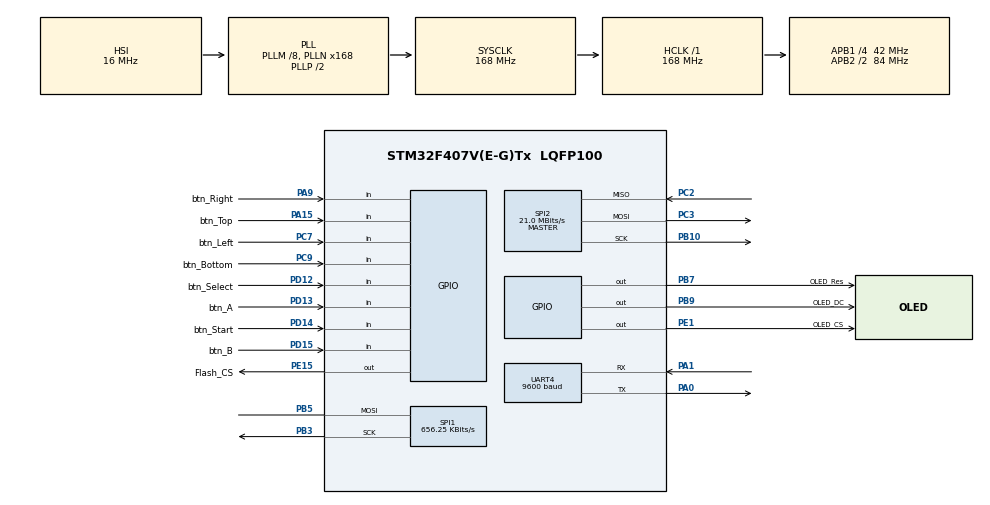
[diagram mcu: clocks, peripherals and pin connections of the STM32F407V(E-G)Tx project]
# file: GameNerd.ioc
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Mcu.Family=STM32F4
Mcu.Name=STM32F407V(E-G)Tx
Mcu.Package=LQFP100
NVIC.PriorityGroup=NVIC_PRIORITYGROUP_4
PA0-WKUP.Mode=Asynchronous
PA0-WKUP.Signal=UART4_TX
PA1.Mode=Asynchronous
PA1.Signal=UART4_RX
PA13.Mode=Serial_Wire
PA13.Signal=SYS_JTMS-SWDIO
PA14.Mode=Serial_Wire
PA14.Signal=SYS_JTCK-SWCLK
PA15.GPIO_Label=btn_Top
PA15.Signal=GPIO_Input
PA9.GPIO_Label=btn_Right
PA9.Signal=GPIO_Input
PB10.Mode=Full_Duplex_Master
PB10.Signal=SPI2_SCK
PB3.Mode=Simplex_Bidirectional_Master
PB3.Signal=SPI1_SCK
PB5.Mode=Simplex_Bidirectional_Master
PB5.Signal=SPI1_MOSI
PB7.GPIO_Label=OLED_Res
PB7.Signal=GPIO_Output
PB9.GPIO_Label=OLED_DC
PB9.Signal=GPIO_Output
PC14-OSC32_IN.Signal=RCC_OSC32_IN
PC15-OSC32_OUT.Signal=RCC_OSC32_OUT
PC2.Mode=Full_Duplex_Master
PC2.Signal=SPI2_MISO
PC3.Mode=Full_Duplex_Master
PC3.Signal=SPI2_MOSI
PC7.GPIO_Label=btn_Left
PC7.Signal=GPIO_Input
PC9.GPIO_Label=btn_Bottom
PC9.Signal=GPIO_Input
PD12.GPIO_Label=btn_Select
PD12.Signal=GPIO_Input
PD13.GPIO_Label=btn_A
PD13.Signal=GPIO_Input
PD14.GPIO_Label=btn_Start
PD14.Signal=GPIO_Input
PD15.GPIO_Label=btn_B
PD15.Signal=GPIO_Input
PE1.GPIO_Label=OLED_CS
PE1.Signal=GPIO_Output
PE15.GPIO_Label=Flash_CS
PE15.Signal=GPIO_Output
PH0-OSC_IN.Signal=RCC_OSC_IN
PH1-OSC_OUT.Signal=RCC_OSC_OUT
ProjectManager.HeapSize=0x200
ProjectManager.StackSize=0x400
ProjectManager.TargetToolchain=STM32CubeIDE
RCC.48MHZClocksFreq_Value=84000000
RCC.AHBFreq_Value=168000000
RCC.APB1CLKDivider=RCC_HCLK_DIV4
RCC.APB1Freq_Value=42000000
RCC.APB1TimFreq_Value=84000000
RCC.APB2CLKDivider=RCC_HCLK_DIV2
RCC.APB2Freq_Value=84000000
RCC.APB2TimFreq_Value=168000000
RCC.CortexFreq_Value=168000000
RCC.HCLKFreq_Value=168000000
RCC.HSE_VALUE=25000000
RCC.HSI_VALUE=16000000
RCC.LSE_VALUE=32768
RCC.PLLM=8
RCC.PLLN=168
RCC.SYSCLKFreq_VALUE=168000000
RCC.SYSCLKSource=RCC_SYSCLKSOURCE_PLLCLK
RCC.VCOOutputFreq_Value=336000000
SPI1.BaudRatePrescaler=SPI_BAUDRATEPRESCALER_128
SPI1.CLKPolarity=SPI_POLARITY_HIGH
SPI1.CalculateBaudRate=656.25 KBits/s
SPI1.Direction=SPI_DIRECTION_1LINE
SPI1.Mode=SPI_MODE_MASTER
SPI1.VirtualType=VM_MASTER
SPI2.CalculateBaudRate=21.0 MBits/s
SPI2.Direction=SPI_DIRECTION_2LINES
SPI2.Mode=SPI_MODE_MASTER
SPI2.VirtualType=VM_MASTER
UART4.BaudRate=9600
UART4.VirtualMode=Asynchronous
board=custom

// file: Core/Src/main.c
/* USER CODE BEGIN Header */
/**
  ******************************************************************************
  * @file           : main.c
  * @brief          : Main program body
  ******************************************************************************
  * @attention
  *
  * Copyright (c) 2022 STMicroelectronics.
  * All rights reserved.
  *
  * This software is licensed under terms that can be found in the LICENSE file
  * in the root directory of this software component.
  * If no LICENSE file comes with this software, it is provided AS-IS.
  *
  ******************************************************************************
  */
/* USER CODE END Header */
#include "main.h"
#include "spi.h"
#include "usart.h"
#include "gpio.h"

/* USER CODE BEGIN Includes */

//include screen lib
#include "stdio.h"
#include "../lib/ssd1306_tests.h"
#include "../lib/music.h"
#include "config.h"
#include "math.h"

//include flash lib
#include "w25qxx.h"

//include game
//#include "../game/realPong/realPong.h"
#include "../inc/Controler.h"

#if (MEMORY_FLASH == 1)

#include "../game/pong/pong.h"

#endif

//include menu interface

//include menu interface

/* USER CODE END Includes */

void SystemClock_Config(void);

/* USER CODE BEGIN 0 */

/*
int8_t buttonStats[] = {0,0,0,0,0,0,0,0};

uint8_t indexFlash[1] = {0};
uint8_t buffer1[20];
uint8_t buffer2[100] = {0};
*/

#if (MEMORY_FLASH == 1)

int8_t buttonStats[] = {0,0,0,0,0,0,0,0};

uint8_t indexFlash[1] = {0};
uint8_t buffer1[SIZE_CODE];

#else

stepMenu step = STEP_INIT;
uint8_t idGame = 0;

//initialise the program :
static Program_t myGame;
static game_fun_t pGame;

#endif

/* USER CODE END 0 */

int main(void)
{

  /* MCU Configuration--------------------------------------------------------*/

  /* Reset of all peripherals, Initializes the Flash interface and the Systick. */
  HAL_Init();

  /* USER CODE BEGIN Init */
  HAL_Delay(1000);

  /* USER CODE END Init */

  /* Configure the system clock */
  SystemClock_Config();

  /* Initialize all configured peripherals */
  MX_GPIO_Init();
  MX_SPI1_Init();
  MX_SPI2_Init();
  MX_UART4_Init();
  /* USER CODE BEGIN 2 */

  W25qxx_Init();

  //Init The screen
  ssd1306_Init();

  /* USER CODE END 2 */

  /* Infinite loop */
  /* USER CODE BEGIN WHILE */
#if (MEMORY_FLASH == 0)

  while (1)
  {
	/* USER CODE END WHILE */
    /* USER CODE BEGIN 3 */
	static uint8_t game_running = 0;
	switch(step){
		case STEP_INIT : {
			step = STEP_MENU;
			break;
		}
		case STEP_MENU : {
			game_running = 0;
			drawMenu(&game_running);
			if (game_running){
				step = STEP_LOAD_GAME;
			}else{
				step = STEP_BACKGROUND;
			}
			break;
		}
		case STEP_LOAD_GAME: {
			loadGame();
			step = STEP_GAME;
			break;
		}
		case STEP_GAME : {
			runGame();
			step = STEP_BACKGROUND;
			break;
		}
		case STEP_BACKGROUND : {
			MUSIC_Process_main();

			if (!game_running){
				step = STEP_MENU;
				//actualiseMenu();
			}else if(getSelectButton()){
				step = STEP_MENU;
				actualiseMenu();
			}else{
				step = STEP_GAME;
			}
			break;
		}
		}

  	}
#else

  	//0x8003ca4
	extern uint8_t _begin_game;
	extern uint8_t _end_game;

	volatile uint8_t *pbegin = &_begin_game;
	volatile uint8_t *pend = &_end_game;

	/*while(1){
	  ssd1306_TestCircle();
	}*/
	//initialise the program :
	static Program_t myGame;
	static game_fun_t pGame;

	//Copy the game into the ram
	//Copy(myGAME.code)
	uint8_t * pG;
	pG = (uint8_t *)pGame;
	uint32_t i = 0;
	while ((pbegin+i) < pend){
	  myGame.code[i] = pbegin[i];
	  i++;
	}

	W25qxx_EraseSector(0);
	int8_t b[1] = {1};
	W25qxx_WriteSector(b, 0, 0, 1);
	char text[20] = MEMORY_NAME;
	W25qxx_WriteSector(text, 0, 1, 20);

	W25qxx_EraseSector(1);
	W25qxx_WriteSector(myGame.code,1, 0, SIZE_CODE);

	W25qxx_ReadSector(buffer1, 1, 0, SIZE_CODE);

	//Init the struct with the drivers
	static Driver_t drivers;
	init_drivers(&drivers);
	myGame.driver = &drivers;

	//Start the program :
	pGame = (&myGame.code[0]) + 1;
	myGame.state = 0;
	volatile uint8_t never = 0;
	if(never)
	  pong(&myGame);
	while(1){
	  //pong(&myGame);
	  pGame(&myGame);
	}

	//Make sur the function isn't dump by the compilator

	//realPong(&myGame);
	pong(&myGame);

#endif
  /* USER CODE END 3 */
}

void SystemClock_Config(void)
{
  RCC_OscInitTypeDef RCC_OscInitStruct = {0};
  RCC_ClkInitTypeDef RCC_ClkInitStruct = {0};

  /** Configure the main internal regulator output voltage
  */
  __HAL_RCC_PWR_CLK_ENABLE();
  __HAL_PWR_VOLTAGESCALING_CONFIG(PWR_REGULATOR_VOLTAGE_SCALE1);

  /** Initializes the RCC Oscillators according to the specified parameters
  * in the RCC_OscInitTypeDef structure.
  */
  RCC_OscInitStruct.OscillatorType = RCC_OSCILLATORTYPE_HSI;
  RCC_OscInitStruct.HSIState = RCC_HSI_ON;
  RCC_OscInitStruct.HSICalibrationValue = RCC_HSICALIBRATION_DEFAULT;
  RCC_OscInitStruct.PLL.PLLState = RCC_PLL_ON;
  RCC_OscInitStruct.PLL.PLLSource = RCC_PLLSOURCE_HSI;
  RCC_OscInitStruct.PLL.PLLM = 8;
  RCC_OscInitStruct.PLL.PLLN = 168;
  RCC_OscInitStruct.PLL.PLLP = RCC_PLLP_DIV2;
  RCC_OscInitStruct.PLL.PLLQ = 4;
  if (HAL_RCC_OscConfig(&RCC_OscInitStruct) != HAL_OK)
  {
    Error_Handler();
  }

  /** Initializes the CPU, AHB and APB buses clocks
  */
  RCC_ClkInitStruct.ClockType = RCC_CLOCKTYPE_HCLK|RCC_CLOCKTYPE_SYSCLK
                              |RCC_CLOCKTYPE_PCLK1|RCC_CLOCKTYPE_PCLK2;
  RCC_ClkInitStruct.SYSCLKSource = RCC_SYSCLKSOURCE_PLLCLK;
  RCC_ClkInitStruct.AHBCLKDivider = RCC_SYSCLK_DIV1;
  RCC_ClkInitStruct.APB1CLKDivider = RCC_HCLK_DIV4;
  RCC_ClkInitStruct.APB2CLKDivider = RCC_HCLK_DIV2;

  if (HAL_RCC_ClockConfig(&RCC_ClkInitStruct, FLASH_LATENCY_5) != HAL_OK)
  {
    Error_Handler();
  }
}

/* USER CODE BEGIN 4 */

void init_drivers(Driver_t *d){
	d->getButtonStats = &getButtonStats;
	d->ssd1306_DrawCircle = &ssd1306_DrawCircle;
	d->ssd1306_DrawRectangle = &ssd1306_DrawRectangle;
	d->ssd1306_Fill = &ssd1306_Fill;
	d->ssd1306_Line = &ssd1306_Line;
	d->ssd1306_UpdateScreen = &ssd1306_UpdateScreen;
	d->MUSIC_PlayMusic = &MUSIC_PlayMusic;
	d->MUSIC_PlaySound = &MUSIC_PlaySound;
	d->MUSIC_Stop = &MUSIC_Stop;
	d->ssd1306_SetCursor = &ssd1306_SetCursor;
	d->ssd1306_WriteString_better = &ssd1306_WriteString_better;
	d->cos = &cos;
	d->sin = &sin;
	d->tan = &tan;
	d->ssd1306_WriteChar = &ssd1306_WriteChar;
}

#if (MEMORY_FLASH == 0)
void loadGame(){
	//Load game from flash to ram
	W25qxx_ReadSector(myGame.code, idGame, 0, SIZE_CODE);

	//Init the struct with the drivers
	static Driver_t drivers;
	init_drivers(&drivers);
	myGame.driver = &drivers;

	//Start the program :
	pGame = (&myGame.code[0]) + 1;
	myGame.state = 0;
}

void runGame(){
	pGame(&myGame);
	//realPong(&myGame); //DEBUG
}

void setStep(uint8_t newStep){
	step = newStep;
}
void setIdGame(uint8_t newID){
	idGame = newID;
}
#endif

/* USER CODE END 4 */

void Error_Handler(void)
{
  __disable_irq();
  while (1)
  {
  }
}
